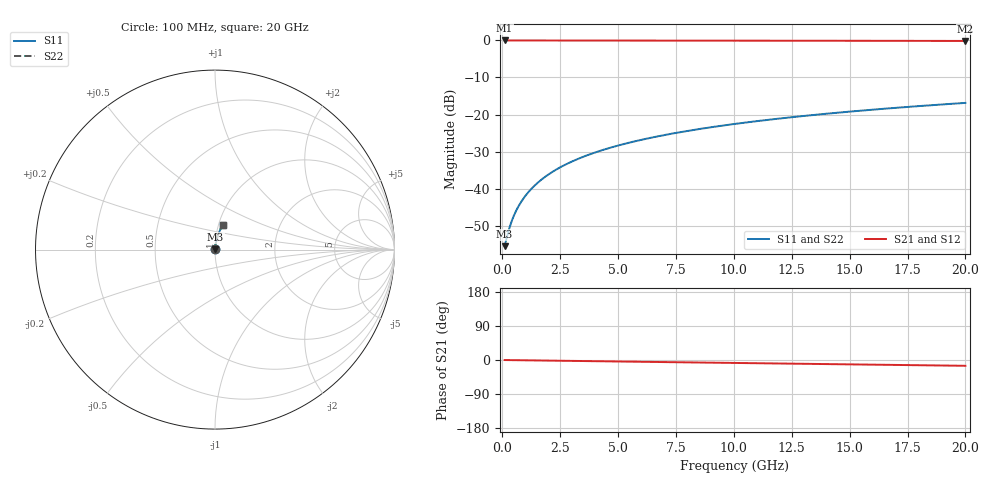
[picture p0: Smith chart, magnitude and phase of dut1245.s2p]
! Touchstone file exported from HFSS 2026.1.0
!  File:  C:/ffzhzh/LocalFiles/Ansys_Project_Files/temp_train_BSMRDL_1245_1783177220_51560.aedt
!  Generated:  11:01:31 PM Jul  4, 2026
!  Design:  BSMRDL
!  Project:  temp_train_BSMRDL_1245_1783177220_51560
! Variables:
!  h_bsmrdl = 4.25um
!  h_ox = 20um
!  h_rdl = 5um
!  h_sub = 80um
!  h_tmrdl = 5um
!  h_tsv = 80um
!  h_via = 3um
!  l_bsmrdl = 212.73um
!  l_sub = 612.73um
!  l_tmrdl = 200um
!  m_sub = 200um
!  pitch = 30.06um
!  r_tsv = 6um
!  s_tmrdl = 10um
!  w_bsmrdl = 13.46um
!  w_sub = 500um
!  w_tmrdl = 12um
!  x_tsv_center1 = 206um
!  x_tsv_center2 = 432.19um
!  x_tsv_center3 = 644.19um
!  x_tsv_center4 = 870.38um
!  x_tsv_center5 = 1082.38um
!  x_tsv_center6 = 1308.57um
# GHz S MA R 50.000000
! Terminal data exported
! Port[1] = BSM_RDL1_1_T1
! Port[2] = BSM_RDL1_1_T2
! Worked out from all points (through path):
!   200 points, 100 MHz to 20 GHz, reference 50 ohm
!   highest |S21| = -0.01 dB at 100 MHz (marker M1); lowest = -0.1 dB at 20 GHz (marker M2)
!   group delay of S21, straight-line fit = 2.12 ps
!   lowest |S11| = -55.5 dB at 100 MHz (marker M3), VSWR 1.00, Z = 50.1 + j0.0844 ohm
!   |S11| at or under -10 dB: start of sweep to end of sweep
!   |S22| runs from -55.5 to -16.9 dB; largest |S21 - S12| = 2.1e-15
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0.1  0.00168 30.1  0.9985 -0.1  0.9985 -0.1  0.00168 30.1
! Gamma 0 0 0 0
! Port Impedance 50 0 50 0
0.2  0.00224 47.9  0.9985 -0.2  0.9985 -0.2  0.00224 47.9
0.3  0.002909 57.7  0.9985 -0.2  0.9985 -0.2  0.002909 57.7
0.4  0.003614 63.6  0.9984 -0.3  0.9984 -0.3  0.003614 63.6
0.5  0.004333 67.6  0.9984 -0.4  0.9984 -0.4  0.004333 67.6
0.6  0.005062 70.4  0.9983 -0.5  0.9983 -0.5  0.005062 70.4
0.8  0.006538 74.3  0.9983 -0.6  0.9983 -0.6  0.006538 74.3
1  0.008034 76.7  0.9982 -0.8  0.9982 -0.8  0.008034 76.7
1.2  0.009541 78.3  0.9982 -1.0  0.9982 -1.0  0.009541 78.3
1.4  0.01106 79.5  0.9981 -1.1  0.9981 -1.1  0.01106 79.5
1.7  0.01334 80.6  0.998 -1.4  0.998 -1.4  0.01334 80.6
2.2  0.01714 81.7  0.9979 -1.7  0.9979 -1.7  0.01714 81.7
2.8  0.0217 82.2  0.9977 -2.2  0.9977 -2.2  0.0217 82.2
3.5  0.027 82.3  0.9973 -2.8  0.9973 -2.8  0.027 82.3
4.2  0.03226 82.2  0.997 -3.3  0.997 -3.3  0.03226 82.2
5  0.03822 81.9  0.9965 -3.9  0.9965 -3.9  0.03822 81.9
6.8  0.05146 81.0  0.9953 -5.3  0.9953 -5.3  0.05146 81.0
8.3  0.06232 80.0  0.9943 -6.5  0.9943 -6.5  0.06232 80.0
10.1  0.0752 78.9  0.9929 -7.9  0.9929 -7.9  0.0752 78.9
13.4  0.09844 76.7  0.9901 -10.4  0.9901 -10.4  0.09844 76.7
16.7  0.1213 74.5  0.987 -12.8  0.987 -12.8  0.1213 74.5
20  0.1437 72.3  0.9835 -15.3  0.9835 -15.3  0.1437 72.2
